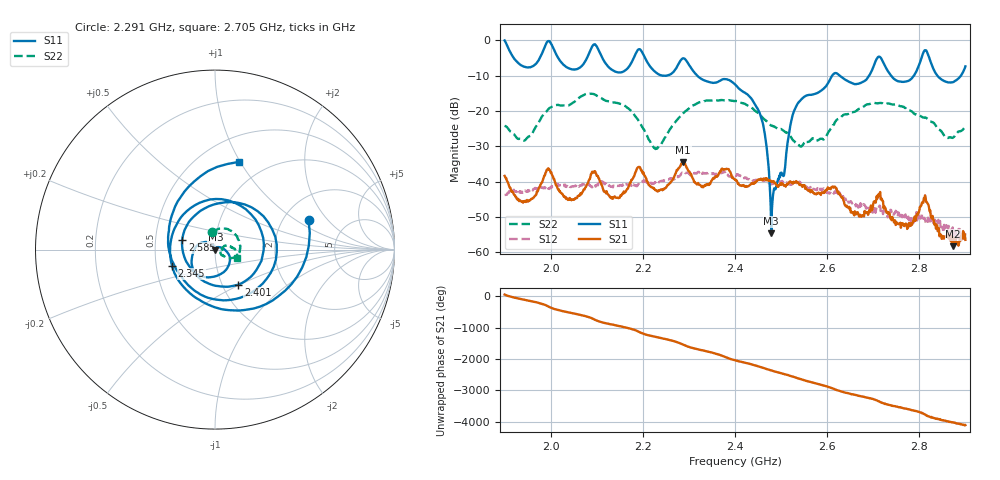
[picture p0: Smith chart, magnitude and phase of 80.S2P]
! C:\Users\rflab\Downloads\Lab5_KD_ZW\80.S2P
! Touchstone 1.1 file saved by VNA.EXE V1.65 (www.ke5fx.com/gpib/readme.htm)
! 11/11/2024 11:43:10 PM
!  Source: HEWLETT PACKARD,8753D,0,6.14
!  Min freq: 1.900000E+009 Hz
!  Max freq: 2.900000E+009 Hz
!  Points: 801
!  Params: S11 S21 S12 S22
# GHZ S RI R 50
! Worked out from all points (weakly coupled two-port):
!   801 points, 1.9 GHz to 2.9 GHz, reference 50 ohm
!   highest |S21| = -34.46 dB at 2.288 GHz (marker M1); lowest = -58.3 dB at 2.874 GHz (marker M2)
!   lowest |S11| = -54.6 dB at 2.479 GHz (marker M3), VSWR 1.00, Z = 50.2 + j0.00341 ohm
!   |S11| at or under -10 dB: 2.318 GHz to 2.611 GHz (292.4 MHz wide, 11.9 % of centre); 2.627 GHz to 2.691 GHz (63.8 MHz wide, 2.4 % of centre); 2.839 GHz to 2.89 GHz (50.81 MHz wide, 1.77 % of centre) (the widest 3 of 7)
!   |S22| runs from -30.8 to -15.1 dB; largest |S21 - S12| = 0.0076
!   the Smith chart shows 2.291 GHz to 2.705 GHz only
!   S11 on the Smith chart (normalised r, x): 2.291 GHz: 2.73, +1.29; 2.345 GHz: 0.60, -0.12; 2.401 GHz: 1.19, -0.49; 2.585 GHz: 0.69, +0.08; 2.705 GHz: 0.75, +0.99
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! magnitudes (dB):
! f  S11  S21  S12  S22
! 1.9 GHz  0.0  -38.4  -43.8  -24.2
! 1.944 GHz  -7.5  -45.5  -43.0  -28.3
! 1.994 GHz  -0.2  -36.3  -41.8  -19.7
! 2.067 GHz  -7.2  -43.3  -41.1  -15.8
! 2.147 GHz  -9.1  -44.6  -41.2  -17.8
! 2.191 GHz  -2.5  -35.8  -40.5  -22.8
! 2.234 GHz  -9.6  -42.6  -40.1  -30.2
! 2.288 GHz  -5.1  -34.5  -37.4  -20.6
! 2.291 GHz  -5.2  -34.7  -37.5  -20.2
! 2.345 GHz  -11.8  -40.4  -37.6  -17.0
! 2.4 GHz  -12.4  -39.4  -38.8  -17.1
! 2.401 GHz  -12.6  -39.4  -38.2  -17.1
! 2.456 GHz  -21.6  -39.2  -39.3  -21.3
! 2.479 GHz  -54.6  -40.1  -40.8  -24.1
! 2.529 GHz  -19.8  -40.2  -40.3  -28.5
! 2.567 GHz  -15.4  -42.6  -41.7  -27.8
! 2.585 GHz  -14.4  -43.4  -42.0  -27.8
! 2.705 GHz  -5.9  -46.0  -48.8  -17.8
! 2.734 GHz  -9.1  -48.8  -49.6  -17.9
! 2.812 GHz  -2.8  -43.9  -50.8  -21.8
! 2.874 GHz  -11.8  -58.3  -54.8  -27.5
! 2.9 GHz  -7.4  -56.5  -54.6  -24.7
